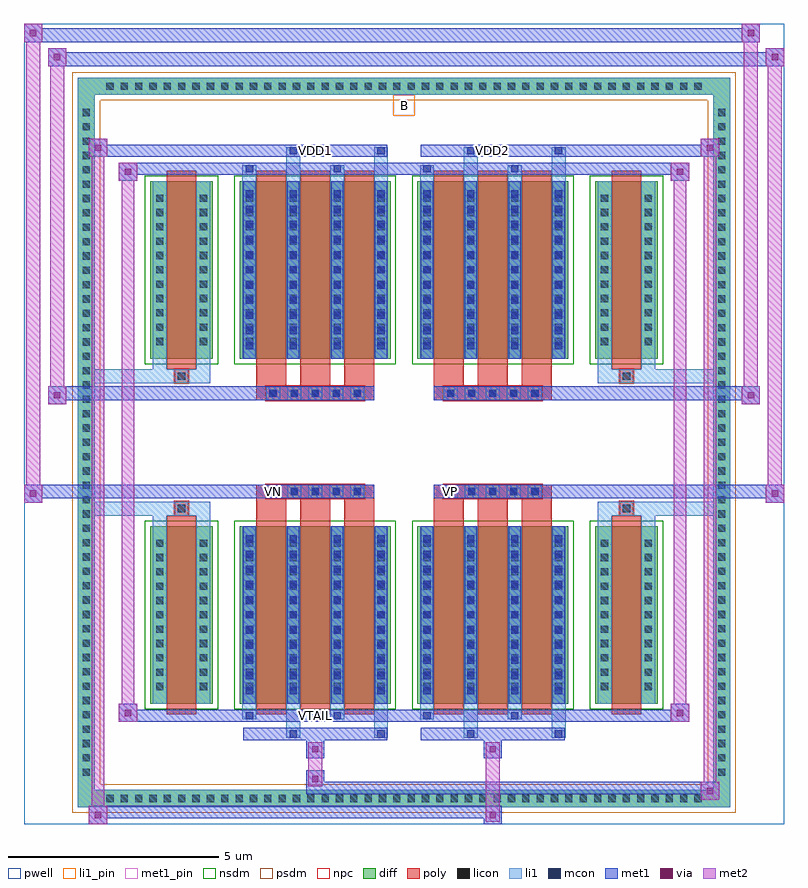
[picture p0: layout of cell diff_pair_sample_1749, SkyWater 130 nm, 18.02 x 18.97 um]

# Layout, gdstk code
import gdstk
lib = gdstk.Library(unit=1e-6, precision=5e-09)
def R(c, l, rs):  # rectangles x0, y0, x1, y1
    for r in rs: c.add(gdstk.rectangle(r[:2], r[2:], *l))
def A(c, l, x, y, w, h, nx, ny, dx, dy):  # array of equal rectangles
    R(c, l, [(x+i*dx, y+j*dy, x+i*dx+w, y+j*dy+h) for i in range(nx) for j in range(ny)])
def P(c, l, *ps):  # polygons
    for p in ps: c.add(gdstk.Polygon(p, *l))
pwell = (64, 44)
diff = (65, 20)
poly = (66, 20)
licon = (66, 44)
li1_pin = (67, 16)
li1 = (67, 20)
mcon = (67, 44)
met1_pin = (68, 16)
met1 = (68, 20)
via = (68, 44)
met2 = (69, 20)
nsdm = (93, 44)
psdm = (94, 20)
npc = (95, 20)

diff_pair_sample_1749 = lib.new_cell('diff_pair_sample_1749')
R(diff_pair_sample_1749, pwell, [(-9.01,-9.05,9.01,9.92), (-6.33,-7.24,-0.01,-0.8), (0.01,-7.24,6.33,-0.8), (-6.33,0.8,-0.01,7.24), (0.01,0.8,6.33,7.24)])
A(diff_pair_sample_1749, diff, -7.175, -8.65, 0.41, 0.41, 42, 2, 0.34, 16.89)
A(diff_pair_sample_1749, diff, -7.74, -8.025, 0.41, 0.41, 1, 47, 0, 0.34)
A(diff_pair_sample_1749, diff, 7.33, -8.025, 0.41, 0.41, 1, 47, 0, 0.34)
R(diff_pair_sample_1749, diff, [(-7.175,-8.65,7.175,-8.24), (-7.74,-8.025,-7.33,8.025), (7.33,-8.025,7.74,8.025), (-6.02,-6.195,-4.53,-1.985), (-3.89,-6.195,-0.32,-1.985), (0.32,-6.195,3.89,-1.985), (4.53,-6.195,6.02,-1.985), (-6.02,1.985,-4.53,6.195), (-3.89,1.985,-0.32,6.195), (0.32,1.985,3.89,6.195), (4.53,1.985,6.02,6.195), (-7.175,8.24,7.175,8.65)])
P(diff_pair_sample_1749, diff, [(7.74,8.65),(-7.74,8.65),(-7.74,-8.24),(-7.33,-8.24),(-7.33,8.24),(7.33,8.24),(7.33,-8.24),(-7.33,-8.24),(-7.74,-8.24),(-7.74,-8.65),(7.74,-8.65)])
A(diff_pair_sample_1749, poly, -3.5, -6.445, 0.71, 4.71, 3, 2, 1.04, 8.18)
A(diff_pair_sample_1749, poly, 0.71, -6.445, 0.71, 4.71, 3, 2, 1.04, 8.18)
A(diff_pair_sample_1749, poly, -3.5, -1.735, 0.71, 0.405, 3, 2, 1.04, 3.065)
A(diff_pair_sample_1749, poly, 0.71, -1.735, 0.71, 0.405, 3, 2, 1.04, 3.065)
A(diff_pair_sample_1749, poly, -3.27, -1.33, 0.33, 0.33, 5, 2, 0.5, 2.33)
A(diff_pair_sample_1749, poly, 0.94, -1.33, 0.33, 0.33, 5, 2, 0.5, 2.33)
R(diff_pair_sample_1749, poly, [(-5.63,-6.445,-4.92,-1.735), (4.92,-6.445,5.63,-1.735), (-5.44,-1.735,-5.11,-1.405), (-5.44,-1.735,-5.11,-1.405), (5.11,-1.735,5.44,-1.405), (5.11,-1.735,5.44,-1.405), (-3.5,-1.33,-0.71,-1), (0.71,-1.33,3.5,-1), (-3.5,1,-0.71,1.33), (0.71,1,3.5,1.33), (-5.44,1.405,-5.11,1.735), (-5.44,1.405,-5.11,1.735), (5.11,1.405,5.44,1.735), (5.11,1.405,5.44,1.735), (-5.63,1.735,-4.92,6.445), (4.92,1.735,5.63,6.445)])
A(diff_pair_sample_1749, licon, -7.055, -8.53, 0.17, 0.17, 42, 2, 0.34, 16.89)
A(diff_pair_sample_1749, licon, -7.62, -7.905, 0.17, 0.17, 1, 47, 0, 0.34)
A(diff_pair_sample_1749, licon, 7.45, -7.905, 0.17, 0.17, 1, 47, 0, 0.34)
A(diff_pair_sample_1749, licon, -5.88, -5.875, 0.17, 0.17, 1, 11, 0, 0.34)
A(diff_pair_sample_1749, licon, -4.84, -5.875, 0.17, 0.17, 1, 11, 0, 0.34)
A(diff_pair_sample_1749, licon, -3.75, -5.875, 0.17, 0.17, 4, 11, 1.04, 0.34)
A(diff_pair_sample_1749, licon, 0.46, -5.875, 0.17, 0.17, 4, 11, 1.04, 0.34)
A(diff_pair_sample_1749, licon, 4.67, -5.875, 0.17, 0.17, 1, 11, 0, 0.34)
A(diff_pair_sample_1749, licon, 5.71, -5.875, 0.17, 0.17, 1, 11, 0, 0.34)
A(diff_pair_sample_1749, licon, -3.19, -1.25, 0.17, 0.17, 5, 2, 0.5, 2.33)
A(diff_pair_sample_1749, licon, 1.02, -1.25, 0.17, 0.17, 5, 2, 0.5, 2.33)
A(diff_pair_sample_1749, licon, -5.88, 2.305, 0.17, 0.17, 1, 11, 0, 0.34)
A(diff_pair_sample_1749, licon, -4.84, 2.305, 0.17, 0.17, 1, 11, 0, 0.34)
A(diff_pair_sample_1749, licon, -3.75, 2.305, 0.17, 0.17, 4, 11, 1.04, 0.34)
A(diff_pair_sample_1749, licon, 0.46, 2.305, 0.17, 0.17, 4, 11, 1.04, 0.34)
A(diff_pair_sample_1749, licon, 4.67, 2.305, 0.17, 0.17, 1, 11, 0, 0.34)
A(diff_pair_sample_1749, licon, 5.71, 2.305, 0.17, 0.17, 1, 11, 0, 0.34)
R(diff_pair_sample_1749, licon, [(-5.36,-1.655,-5.19,-1.485), (5.19,-1.655,5.36,-1.485), (-5.36,1.485,-5.19,1.655), (5.19,1.485,5.36,1.655)])
R(diff_pair_sample_1749, li1_pin, [(-0.25,7.74,0.25,8.24)])
A(diff_pair_sample_1749, li1, -7.135, -8.61, 0.33, 0.33, 42, 2, 0.34, 16.89)
A(diff_pair_sample_1749, li1, -7.7, -7.985, 0.33, 0.33, 1, 47, 0, 0.34)
A(diff_pair_sample_1749, li1, 7.37, -7.985, 0.33, 0.33, 1, 47, 0, 0.34)
A(diff_pair_sample_1749, li1, -3.83, -6.195, 0.33, 4.21, 4, 2, 1.04, 8.18)
A(diff_pair_sample_1749, li1, 0.38, -6.195, 0.33, 4.21, 4, 2, 1.04, 8.18)
A(diff_pair_sample_1749, li1, -3.75, -5.975, 0.17, 0.17, 4, 11, 1.04, 0.36)
A(diff_pair_sample_1749, li1, -3.75, -5.975, 0.17, 3.77, 4, 2, 1.04, 8.18)
A(diff_pair_sample_1749, li1, 0.46, -5.975, 0.17, 0.17, 4, 11, 1.04, 0.36)
A(diff_pair_sample_1749, li1, 0.46, -5.975, 0.17, 3.77, 4, 2, 1.04, 8.18)
A(diff_pair_sample_1749, li1, -5.96, -5.955, 0.33, 0.33, 1, 11, 0, 0.34)
A(diff_pair_sample_1749, li1, -4.92, -5.955, 0.33, 0.33, 1, 11, 0, 0.34)
A(diff_pair_sample_1749, li1, -3.83, -5.955, 0.33, 0.33, 4, 11, 1.04, 0.34)
A(diff_pair_sample_1749, li1, 0.38, -5.955, 0.33, 0.33, 4, 11, 1.04, 0.34)
A(diff_pair_sample_1749, li1, 4.59, -5.955, 0.33, 0.33, 1, 11, 0, 0.34)
A(diff_pair_sample_1749, li1, 5.63, -5.955, 0.33, 0.33, 1, 11, 0, 0.34)
A(diff_pair_sample_1749, li1, -3.27, -1.33, 0.33, 0.33, 5, 2, 0.5, 2.33)
A(diff_pair_sample_1749, li1, 0.94, -1.33, 0.33, 0.33, 5, 2, 0.5, 2.33)
A(diff_pair_sample_1749, li1, -3.75, 2.205, 0.17, 0.17, 4, 11, 1.04, 0.36)
A(diff_pair_sample_1749, li1, 0.46, 2.205, 0.17, 0.17, 4, 11, 1.04, 0.36)
A(diff_pair_sample_1749, li1, -5.96, 2.225, 0.33, 0.33, 1, 11, 0, 0.34)
A(diff_pair_sample_1749, li1, -4.92, 2.225, 0.33, 0.33, 1, 11, 0, 0.34)
A(diff_pair_sample_1749, li1, -3.83, 2.225, 0.33, 0.33, 4, 11, 1.04, 0.34)
A(diff_pair_sample_1749, li1, 0.38, 2.225, 0.33, 0.33, 4, 11, 1.04, 0.34)
A(diff_pair_sample_1749, li1, 4.59, 2.225, 0.33, 0.33, 1, 11, 0, 0.34)
A(diff_pair_sample_1749, li1, 5.63, 2.225, 0.33, 0.33, 1, 11, 0, 0.34)
R(diff_pair_sample_1749, li1, [(-7.74,-8.65,-7.33,-8.24), (-7.74,-8.65,-7.33,-8.24), (-7.33,-8.65,7.33,-8.24), (7.33,-8.65,7.74,-8.24), (7.33,-8.65,7.74,-8.24), (-7.74,-8.24,-7.33,8.24), (7.33,-8.24,7.74,8.24), (-2.79,-7,-2.46,-6.195), (-2.71,-7,-2.54,-6.83), (-0.71,-7,-0.38,-6.195), (-0.63,-7,-0.46,-6.83), (1.42,-7,1.75,-6.195), (1.5,-7,1.67,-6.83), (3.5,-7,3.83,-6.195), (3.58,-7,3.75,-6.83), (-3.83,-6.57,-3.5,-6.195), (-3.75,-6.57,-3.58,-6.4), (-1.75,-6.57,-1.42,-6.195), (-1.67,-6.57,-1.5,-6.4), (0.38,-6.57,0.71,-6.195), (0.46,-6.57,0.63,-6.4), (2.46,-6.57,2.79,-6.195), (2.54,-6.57,2.71,-6.4), (-5.96,-6.195,-5.63,-1.985), (-4.92,-6.195,-4.59,-1.985), (4.59,-6.195,4.92,-1.985), (5.63,-6.195,5.96,-1.985), (-5.96,-1.985,-5.63,-1.405), (-4.92,-1.985,-4.59,-1.405), (4.59,-1.985,4.92,-1.405), (5.63,-1.985,5.96,-1.405), (-7.74,-1.735,-5.44,-1.405), (-5.96,-1.735,-5.44,-1.405), (-5.44,-1.735,-5.11,-1.405), (-5.11,-1.735,-4.59,-1.405), (4.59,-1.735,5.11,-1.405), (5.11,-1.735,5.44,-1.405), (5.11,-1.735,7.74,-1.405), (5.44,-1.735,5.96,-1.405), (-7.74,1.405,-5.44,1.735), (-5.96,1.405,-5.44,1.735), (-5.96,1.405,-5.63,1.985), (-5.44,1.405,-5.11,1.735), (-5.11,1.405,-4.59,1.735), (-4.92,1.405,-4.59,1.985), (4.59,1.405,5.11,1.735), (4.59,1.405,4.92,1.985), (5.11,1.405,5.44,1.735), (5.11,1.405,7.74,1.735), (5.44,1.405,5.96,1.735), (5.63,1.405,5.96,1.985), (-5.96,1.985,-5.63,6.195), (-4.92,1.985,-4.59,6.195), (4.59,1.985,4.92,6.195), (5.63,1.985,5.96,6.195), (-3.83,6.195,-3.5,6.57), (-2.79,6.195,-2.46,7), (-1.75,6.195,-1.42,6.57), (-0.71,6.195,-0.38,7), (0.38,6.195,0.71,6.57), (1.42,6.195,1.75,7), (2.46,6.195,2.79,6.57), (3.5,6.195,3.83,7), (-3.75,6.4,-3.58,6.57), (-1.67,6.4,-1.5,6.57), (0.46,6.4,0.63,6.57), (2.54,6.4,2.71,6.57), (-2.71,6.83,-2.54,7), (-0.63,6.83,-0.46,7), (1.5,6.83,1.67,7), (3.58,6.83,3.75,7), (-7.74,8.24,-7.33,8.65), (-7.74,8.24,-7.33,8.65), (-7.33,8.24,7.33,8.65), (7.33,8.24,7.74,8.65), (7.33,8.24,7.74,8.65)])
A(diff_pair_sample_1749, mcon, -3.75, -5.975, 0.17, 0.17, 4, 11, 1.04, 0.36)
A(diff_pair_sample_1749, mcon, 0.46, -5.975, 0.17, 0.17, 4, 11, 1.04, 0.36)
A(diff_pair_sample_1749, mcon, -3.19, -1.25, 0.17, 0.17, 5, 2, 0.5, 2.33)
A(diff_pair_sample_1749, mcon, 1.02, -1.25, 0.17, 0.17, 5, 2, 0.5, 2.33)
A(diff_pair_sample_1749, mcon, -3.75, 2.205, 0.17, 0.17, 4, 11, 1.04, 0.36)
A(diff_pair_sample_1749, mcon, 0.46, 2.205, 0.17, 0.17, 4, 11, 1.04, 0.36)
R(diff_pair_sample_1749, mcon, [(-2.71,-7,-2.54,-6.83), (-0.63,-7,-0.46,-6.83), (1.5,-7,1.67,-6.83), (3.58,-7,3.75,-6.83), (-3.75,-6.57,-3.58,-6.4), (-1.67,-6.57,-1.5,-6.4), (0.46,-6.57,0.63,-6.4), (2.54,-6.57,2.71,-6.4), (-3.75,6.4,-3.58,6.57), (-1.67,6.4,-1.5,6.57), (0.46,6.4,0.63,6.57), (2.54,6.4,2.71,6.57), (-2.71,6.83,-2.54,7), (-0.63,6.83,-0.46,7), (1.5,6.83,1.67,7), (3.58,6.83,3.75,7)])
R(diff_pair_sample_1749, met1_pin, [(-2.24,-6.61,-1.97,-6.34), (-3.24,-1.29,-2.97,-1.02), (0.97,-1.29,1.24,-1.02), (-2.24,6.79,-1.97,7.06), (1.97,6.79,2.24,7.06)])
A(diff_pair_sample_1749, met1, -3.81, -6.195, 0.29, 4.21, 4, 2, 1.04, 8.18)
A(diff_pair_sample_1749, met1, 0.4, -6.195, 0.29, 4.21, 4, 2, 1.04, 8.18)
A(diff_pair_sample_1749, met1, -3.81, -6.035, 0.29, 0.29, 4, 11, 1.04, 0.36)
A(diff_pair_sample_1749, met1, 0.4, -6.035, 0.29, 0.29, 4, 11, 1.04, 0.36)
A(diff_pair_sample_1749, met1, -3.25, -1.31, 0.29, 0.29, 5, 2, 0.5, 2.33)
A(diff_pair_sample_1749, met1, 0.96, -1.31, 0.29, 0.29, 5, 2, 0.5, 2.33)
A(diff_pair_sample_1749, met1, -3.81, 2.145, 0.29, 0.29, 4, 11, 1.04, 0.36)
A(diff_pair_sample_1749, met1, 0.4, 2.145, 0.29, 0.29, 4, 11, 1.04, 0.36)
R(diff_pair_sample_1749, met1, [(-7.47,-9.05,-7.04,-8.62), (1.89,-9.05,2.32,-8.62), (-7.47,-8.91,2.32,-8.62), (7.04,-8.48,7.47,-8.05), (-2.32,-8.34,7.47,-8.05), (-2.32,-8.2,-1.89,-7.77), (-2.32,-7.49,-1.89,-7.06), (1.89,-7.49,2.32,-7.06), (-3.81,-7.06,-0.4,-6.77), (-2.77,-7.06,-2.48,-6.77), (-0.69,-7.06,-0.4,-6.77), (0.4,-7.06,3.81,-6.77), (1.44,-7.06,1.73,-6.77), (3.52,-7.06,3.81,-6.77), (-6.76,-6.63,-6.33,-6.2), (-6.76,-6.63,-3.81,-6.34), (-3.81,-6.63,-3.52,-6.34), (-3.81,-6.63,-0.4,-6.34), (-1.73,-6.63,-1.44,-6.34), (-0.4,-6.63,0.4,-6.34), (0.4,-6.63,0.69,-6.34), (0.4,-6.63,3.81,-6.34), (2.48,-6.63,2.77,-6.34), (3.81,-6.63,6.76,-6.34), (6.33,-6.63,6.76,-6.2), (-9.01,-1.43,-8.58,-1), (8.58,-1.43,9.01,-1), (-9.01,-1.33,-0.71,-1), (-3.5,-1.33,-0.71,-1), (0.71,-1.33,3.5,-1), (0.71,-1.33,9.01,-1), (-8.44,0.9,-8.01,1.33), (8.01,0.9,8.44,1.33), (-8.44,1,-3.5,1.33), (-3.5,1,-0.71,1.33), (0.71,1,3.5,1.33), (3.5,1,8.44,1.33), (-6.76,6.2,-6.33,6.63), (6.33,6.2,6.76,6.63), (-6.76,6.34,-3.81,6.63), (-3.81,6.34,-3.52,6.63), (-3.81,6.34,-0.4,6.63), (-1.73,6.34,-1.44,6.63), (-0.4,6.34,0.4,6.63), (0.4,6.34,0.69,6.63), (0.4,6.34,3.81,6.63), (2.48,6.34,2.77,6.63), (3.81,6.34,6.76,6.63), (-7.47,6.77,-7.04,7.2), (-7.47,6.77,-3.81,7.06), (-3.81,6.77,-0.4,7.06), (-2.77,6.77,-2.48,7.06), (-0.69,6.77,-0.4,7.06), (0.4,6.77,3.81,7.06), (1.44,6.77,1.73,7.06), (3.52,6.77,3.81,7.06), (3.81,6.77,7.47,7.06), (7.04,6.77,7.47,7.2), (-8.44,8.92,-8.01,9.35), (-8.44,8.92,-6.33,9.25), (-6.33,8.92,6.33,9.25), (6.33,8.92,9.01,9.25), (8.58,8.92,9.01,9.35), (-9.01,9.49,-8.58,9.92), (-9.01,9.49,-6.33,9.82), (-6.33,9.49,6.33,9.82), (6.33,9.49,8.44,9.82), (8.01,9.49,8.44,9.92)])
R(diff_pair_sample_1749, via, [(-7.33,-8.91,-7.18,-8.76), (2.03,-8.91,2.18,-8.76), (7.18,-8.34,7.33,-8.19), (-2.18,-8.06,-2.03,-7.91), (-2.18,-7.35,-2.03,-7.2), (2.03,-7.35,2.18,-7.2), (-6.62,-6.49,-6.47,-6.34), (6.47,-6.49,6.62,-6.34), (-8.87,-1.29,-8.72,-1.14), (8.72,-1.29,8.87,-1.14), (-8.3,1.04,-8.15,1.19), (8.15,1.04,8.3,1.19), (-6.62,6.34,-6.47,6.49), (6.47,6.34,6.62,6.49), (-7.33,6.91,-7.18,7.06), (7.18,6.91,7.33,7.06), (-8.3,9.06,-8.15,9.21), (8.72,9.06,8.87,9.21), (-8.87,9.63,-8.72,9.78), (8.15,9.63,8.3,9.78)])
R(diff_pair_sample_1749, met2, [(-7.47,-9.05,-7.04,-8.62), (-7.4,-9.05,-7.11,7.2), (-7.11,-9.05,-7.04,-8.62), (-7.42,-9,-7.09,-8.67), (1.94,-9,2.27,-8.67), (1.94,-8.67,2.27,-7.44), (7.04,-8.48,7.47,-8.05), (7.11,-8.48,7.4,7.2), (7.4,-8.48,7.47,-8.05), (7.09,-8.43,7.42,-8.1), (-2.27,-8.15,-1.94,-7.82), (-2.27,-7.82,-1.94,-7.44), (-2.27,-7.44,-1.94,-7.11), (1.94,-7.44,2.27,-7.11), (-6.76,-6.63,-6.33,-6.2), (-6.69,-6.63,-6.4,6.63), (-6.4,-6.63,-6.33,-6.2), (6.33,-6.63,6.76,-6.2), (6.4,-6.63,6.69,6.63), (6.69,-6.63,6.76,-6.2), (-6.71,-6.58,-6.38,-6.25), (6.38,-6.58,6.71,-6.25), (-9.01,-1.43,-8.58,-1), (-8.96,-1.43,-8.63,9.92), (-8.63,-1.43,-8.58,-1), (8.58,-1.43,9.01,-1), (8.63,-1.43,8.96,9.35), (8.96,-1.43,9.01,-1), (-8.96,-1.38,-8.63,-1.05), (8.63,-1.38,8.96,-1.05), (-8.44,0.9,-8.01,1.33), (-8.39,0.9,-8.06,9.35), (-8.06,0.9,-8.01,1.33), (8.01,0.9,8.44,1.33), (8.06,0.9,8.39,9.92), (8.39,0.9,8.44,1.33), (-8.39,0.95,-8.06,1.28), (8.06,0.95,8.39,1.28), (-6.76,6.2,-6.33,6.63), (-6.4,6.2,-6.33,6.63), (6.33,6.2,6.76,6.63), (6.69,6.2,6.76,6.63), (-6.71,6.25,-6.38,6.58), (6.38,6.25,6.71,6.58), (-7.47,6.77,-7.04,7.2), (-7.11,6.77,-7.04,7.2), (7.04,6.77,7.47,7.2), (7.4,6.77,7.47,7.2), (-7.42,6.82,-7.09,7.15), (7.09,6.82,7.42,7.15), (-8.44,8.92,-8.01,9.35), (-8.06,8.92,-8.01,9.35), (8.58,8.92,9.01,9.35), (8.96,8.92,9.01,9.35), (-8.39,8.97,-8.06,9.3), (8.63,8.97,8.96,9.3), (-9.01,9.49,-8.58,9.92), (-8.63,9.49,-8.58,9.92), (8.01,9.49,8.44,9.92), (8.39,9.49,8.44,9.92), (-8.96,9.54,-8.63,9.87), (8.06,9.54,8.39,9.87)])
R(diff_pair_sample_1749, nsdm, [(-6.15,-6.325,-4.4,-1.855), (-4.02,-6.325,-0.19,-1.855), (0.19,-6.325,4.02,-1.855), (4.4,-6.325,6.15,-1.855), (-6.15,1.855,-4.4,6.325), (-4.02,1.855,-0.19,6.325), (0.19,1.855,4.02,6.325), (4.4,1.855,6.15,6.325)])
P(diff_pair_sample_1749, psdm, [(7.87,8.78),(-7.87,8.78),(-7.87,-8.11),(-7.2,-8.11),(-7.2,8.11),(7.2,8.11),(7.2,-8.11),(-7.2,-8.11),(-7.87,-8.11),(-7.87,-8.78),(7.87,-8.78)])
A(diff_pair_sample_1749, npc, -3.29, -1.35, 0.37, 0.37, 5, 2, 0.5, 2.33)
A(diff_pair_sample_1749, npc, 0.92, -1.35, 0.37, 0.37, 5, 2, 0.5, 2.33)
R(diff_pair_sample_1749, npc, [(-5.46,-1.755,-5.09,-1.385), (5.09,-1.755,5.46,-1.385), (-3.29,-1.35,-2.42,-0.98), (-3.29,-1.35,-2.42,-0.98), (-2.79,-1.35,-1.92,-0.98), (-2.79,-1.35,-1.92,-0.98), (-2.29,-1.35,-1.42,-0.98), (-2.29,-1.35,-1.42,-0.98), (-1.79,-1.35,-0.92,-0.98), (-1.79,-1.35,-0.92,-0.98), (0.92,-1.35,1.79,-0.98), (0.92,-1.35,1.79,-0.98), (1.42,-1.35,2.29,-0.98), (1.42,-1.35,2.29,-0.98), (1.92,-1.35,2.79,-0.98), (1.92,-1.35,2.79,-0.98), (2.42,-1.35,3.29,-0.98), (2.42,-1.35,3.29,-0.98), (-3.29,0.98,-2.42,1.35), (-3.29,0.98,-2.42,1.35), (-2.79,0.98,-1.92,1.35), (-2.79,0.98,-1.92,1.35), (-2.29,0.98,-1.42,1.35), (-2.29,0.98,-1.42,1.35), (-1.79,0.98,-0.92,1.35), (-1.79,0.98,-0.92,1.35), (0.92,0.98,1.79,1.35), (0.92,0.98,1.79,1.35), (1.42,0.98,2.29,1.35), (1.42,0.98,2.29,1.35), (1.92,0.98,2.79,1.35), (1.92,0.98,2.79,1.35), (2.42,0.98,3.29,1.35), (2.42,0.98,3.29,1.35), (-5.46,1.385,-5.09,1.755), (5.09,1.385,5.46,1.755)])
diff_pair_sample_1749.add(gdstk.Label('VTAIL', (-2.105,-6.475), layer=68, texttype=5))
diff_pair_sample_1749.add(gdstk.Label('VN', (-3.105,-1.155), layer=68, texttype=5))
diff_pair_sample_1749.add(gdstk.Label('VP', (1.105,-1.155), layer=68, texttype=5))
diff_pair_sample_1749.add(gdstk.Label('B', (0,7.99), layer=67, texttype=5))
diff_pair_sample_1749.add(gdstk.Label('VDD2', (2.105,6.925), layer=68, texttype=5))
diff_pair_sample_1749.add(gdstk.Label('VDD1', (-2.105,6.925), layer=68, texttype=5))

lib.write_gds('diff_pair_sample_1749.gds')
